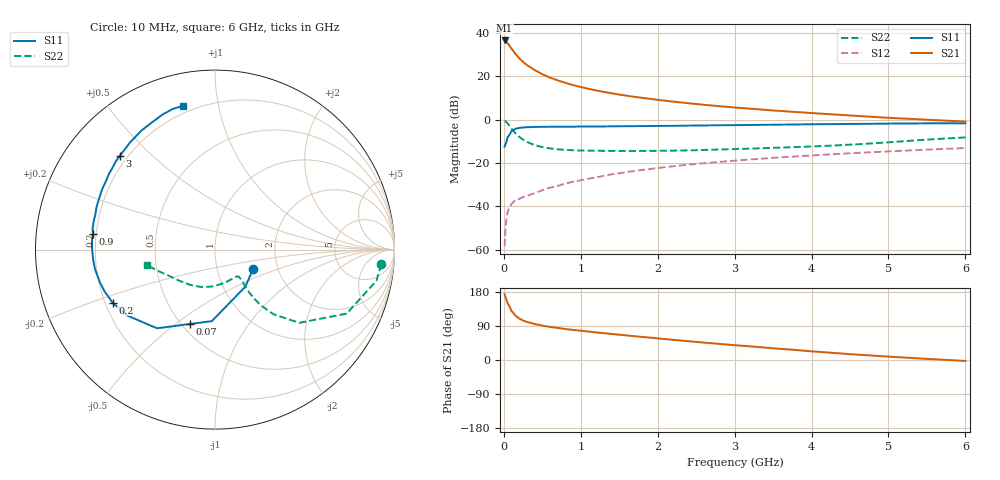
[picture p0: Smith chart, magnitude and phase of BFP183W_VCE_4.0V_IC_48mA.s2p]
! Infineon Technologies  Discrete & RF Semiconductors
! BFP183W
! VCE =  4.0 V,  IC =  48 mA
! Common Emitter S-Parameters:  Jan 2017
# GHz  S  MA  R  50
!  f  S11  S21  S12  S22
! GHz  MAG  ANG  MAG  ANG  MAG  ANG  MAG  ANG
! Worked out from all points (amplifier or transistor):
!   77 points, 10 MHz to 6 GHz, reference 50 ohm
!   highest |S21| = 36.5 dB at 10 MHz (marker M1)
!   |S21| within 3 dB of that: start of sweep to 83.46 MHz
!   unconditionally stable (mu >= 1): 609.3 MHz to 3.42 GHz
!   at 130 MHz: K = 0.42, MSG = 34.6 dB, |S12| = -37.9 dB
!   at 2.2 GHz: K = 1.09, MAG = 13.1 dB, |S12| = -21.5 dB
!   at 6 GHz: K = 0.86, MSG = 6.1 dB, |S12| = -13.1 dB
!   S11 on the Smith chart (normalised r, x): 10 MHz: 1.50, -0.33; 70 MHz: 0.55, -0.56; 200 MHz: 0.23, -0.23; 900 MHz: 0.19, +0.06; 3 GHz: 0.17, +0.40; 6 GHz: 0.16, +0.79
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0.01  0.2379 -26.3  66.91 173.8  0.0012 82.9  0.9301 -5.0
0.02  0.2668 -50.6  65.44 166.6  0.0027 74.6  0.916 -10.9
0.05  0.3989 -92.5  57.78 149.0  0.0075 67.0  0.816 -25.9
0.07  0.4373 -108.6  51.26 142.3  0.009 61.1  0.7326 -31.0
0.1  0.5444 -126.4  43.27 128.8  0.0113 55.2  0.6218 -41.0
0.15  0.6119 -143.1  32.9 117.1  0.0138 50.8  0.485 -47.9
0.2  0.6427 -152.6  26.03 109.5  0.0148 51.3  0.4002 -50.6
0.25  0.6582 -159.4  21.42 104.2  0.0164 49.0  0.3432 -51.4
0.3  0.6669 -164.2  18.11 100.4  0.0173 51.5  0.3041 -51.4
0.4  0.6775 -170.8  13.85 94.8  0.02 54.8  0.2574 -50.4
0.5  0.681 -175.4  11.15 90.8  0.0234 57.6  0.2318 -49.4
0.6  0.6835 -179.1  9.341 87.4  0.0269 60.1  0.216 -48.9
0.7  0.6867 177.9  8.017 84.6  0.0294 62.5  0.2058 -48.6
0.9  0.6856 172.5  6.245 79.4  0.0367 65.0  0.1961 -49.7
1.1  0.6928 168.2  5.135 75.0  0.0433 66.8  0.1921 -51.5
1.5  0.7011 160.4  3.775 66.7  0.0577 66.8  0.1886 -58.0
2.1  0.7153 149.5  2.722 55.2  0.08 65.5  0.191 -72.4
3  0.7442 135.5  1.899 39.0  0.1127 60.8  0.2088 -98.0
3.1  0.7468 134.1  1.841 37.6  0.1163 60.2  0.2108 -100.8
4.1  0.7813 120.6  1.379 21.5  0.1523 53.6  0.2439 -128.1
5.1  0.8093 110.2  1.076 7.7  0.188 46.8  0.3075 -153.4
6  0.8207 102.5  0.898 -2.6  0.2209 39.9  0.3872 -167.1
